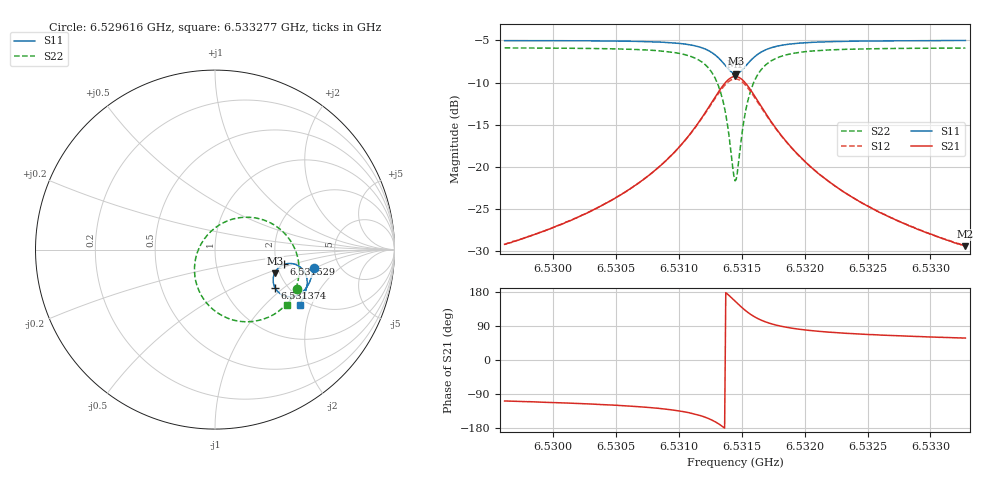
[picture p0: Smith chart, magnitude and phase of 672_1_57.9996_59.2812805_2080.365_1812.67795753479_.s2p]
#  HZ  S  RI  R  50.00
! Rohde & Schwarz Vector Network Analyzer
! Rohde-Schwarz,ZNB20-2Port,1311601062101988,3.16
! Created: UTC 3/21/2024, 1:20:24 AM
! freq[Hz]  re:S11  im:S11  re:S21  im:S21  re:S12  im:S12  re:S22  im:S22
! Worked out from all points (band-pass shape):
!   401 points, 6.529616 GHz to 6.533277 GHz, reference 50 ohm
!   highest |S21| = -9.28 dB at 6.531447 GHz (marker M1); lowest = -29.4 dB at 6.533277 GHz (marker M2)
!   |S21| within 3 dB of the highest: 6.531265 GHz to 6.531632 GHz (366.2 kHz wide, 0.00561 % of centre)
!   lowest |S11| = -8.9 dB at 6.531456 GHz (marker M3), VSWR 2.11, Z = 94.2 - j28.3 ohm
!   |S11| at or under -10 dB: nowhere
!   |S22| runs from -21.6 to -5.9 dB; largest |S21 - S12| = 0.014
!   S11 on the Smith chart (normalised r, x): 6.529616 GHz: 3.24, -0.96; 6.531374 GHz: 1.73, -0.87; 6.531529 GHz: 2.20, -0.43; 6.533277 GHz: 1.83, -1.64
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6.5296161e9  0.5511 -0.1016  -0.0108 -0.0331  -0.0115 -0.0328  0.4579 -0.2188
6.5302294e9  0.5375 -0.1538  -0.0221 -0.0468  -0.0232 -0.0462  0.4213 -0.277
6.5305589e9  0.5247 -0.1856  -0.0356 -0.0602  -0.0372 -0.0592  0.3858 -0.3169
6.5308426e9  0.5049 -0.2179  -0.0613 -0.0791  -0.0637 -0.0771  0.3283 -0.3608
6.5310623e9  0.4723 -0.2474  -0.1097 -0.0992  -0.1125 -0.0949  0.2321 -0.3972
6.5312179e9  0.4213 -0.2631  -0.189 -0.1005  -0.1907 -0.0922  0.0888 -0.3886
6.5313095e9  0.3707 -0.2502  -0.2667 -0.0618  -0.2639 -0.0503  -0.0374 -0.3081
6.5313461e9  0.3486 -0.2326  -0.2989 -0.0252  -0.2926 -0.0137  -0.084 -0.2406
6.5313735e9  0.3346 -0.2129  -0.3177 0.0127  -0.3085 0.0233  -0.1076 -0.174
6.5314284e9  0.3246 -0.1593  -0.3237 0.1092  -0.3104 0.1141  -0.0983 -0.0153
6.5314467e9  0.3288 -0.1402  -0.3127 0.1423  -0.2991 0.1448  -0.0744 0.0363
6.5314559e9  0.3324 -0.131  -0.3049 0.1578  -0.2915 0.1593  -0.0589 0.0603
6.5314742e9  0.3424 -0.1143  -0.2849 0.1861  -0.2723 0.1853  -0.0213 0.1027
6.5315291e9  0.3857 -0.0824  -0.2052 0.2386  -0.197 0.234  0.118 0.1746
6.5315566e9  0.4089 -0.0773  -0.1644 0.2463  -0.1583 0.2415  0.1868 0.1803
6.5315932e9  0.4363 -0.0791  -0.1169 0.2432  -0.1131 0.2388  0.2655 0.1667
6.5316847e9  0.4814 -0.1028  -0.0407 0.2068  -0.039 0.2044  0.3886 0.0894
6.531822e9  0.5073 -0.1427  0.00402 0.1511  0.00539 0.1504  0.4542 -0.0206
6.53206e9  0.5133 -0.1902  0.0217 0.096  0.0229 0.0956  0.468 -0.1328
6.5323437e9  0.5068 -0.2271  0.0232 0.0646  0.0242 0.0643  0.4551 -0.203
6.5326733e9  0.4954 -0.2592  0.0215 0.0459  0.0224 0.0455  0.4356 -0.2521
6.5332774e9  0.471 -0.3061  0.018 0.0288  0.0188 0.0284  0.4009 -0.3098
